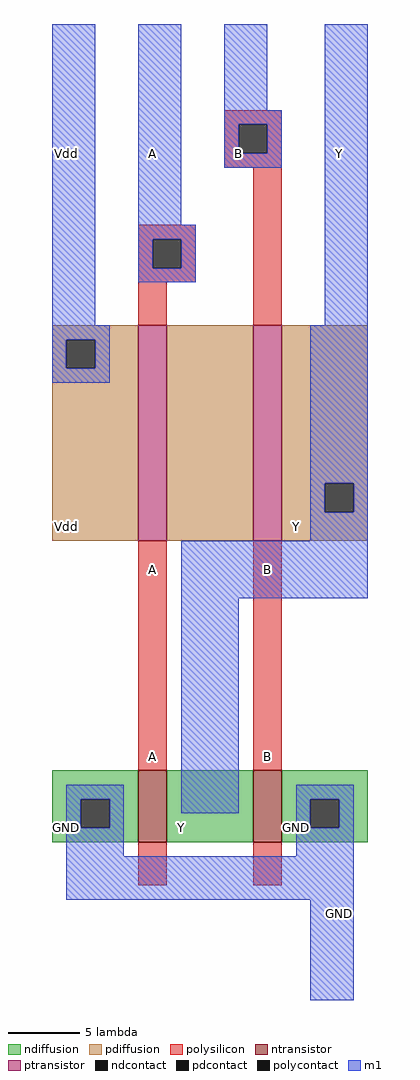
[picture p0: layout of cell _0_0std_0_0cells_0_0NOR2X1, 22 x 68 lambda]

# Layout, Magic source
magic
tech TSMC180
<< ndiffusion >>
rect 6 10 12 12
rect 6 8 8 10
rect 10 8 12 10
rect 6 7 12 8
rect 14 7 20 12
rect 22 10 28 12
rect 22 8 24 10
rect 26 8 28 10
rect 22 7 28 8
<< ndcontact >>
rect 8 8 10 10
rect 24 8 26 10
<< ntransistor >>
rect 12 7 14 12
rect 20 7 22 12
<< pdiffusion >>
rect 6 42 12 43
rect 6 40 7 42
rect 9 40 12 42
rect 6 28 12 40
rect 14 28 20 43
rect 22 32 28 43
rect 22 30 25 32
rect 27 30 28 32
rect 22 28 28 30
<< pdcontact >>
rect 7 40 9 42
rect 25 30 27 32
<< ptransistor >>
rect 12 28 14 43
rect 20 28 22 43
<< polysilicon >>
rect 18 57 22 58
rect 18 55 19 57
rect 21 55 22 57
rect 18 54 22 55
rect 12 49 16 50
rect 12 47 13 49
rect 15 47 16 49
rect 12 46 16 47
rect 12 43 14 46
rect 20 43 22 54
rect 12 12 14 28
rect 20 12 22 28
rect 12 4 14 7
rect 20 4 22 7
<< polycontact >>
rect 19 55 21 57
rect 13 47 15 49
<< m1 >>
rect 6 43 9 64
rect 12 50 15 64
rect 18 58 21 64
rect 18 57 22 58
rect 18 55 19 57
rect 21 55 22 57
rect 18 54 22 55
rect 12 49 16 50
rect 12 47 13 49
rect 15 47 16 49
rect 12 46 16 47
rect 25 43 28 64
rect 6 42 10 43
rect 6 40 7 42
rect 9 40 10 42
rect 6 39 10 40
rect 24 32 28 43
rect 24 30 25 32
rect 27 30 28 32
rect 24 28 28 30
rect 15 24 28 28
rect 7 10 11 11
rect 7 8 8 10
rect 10 8 11 10
rect 15 9 19 24
rect 23 10 27 11
rect 7 6 11 8
rect 23 8 24 10
rect 26 8 27 10
rect 23 6 27 8
rect 7 3 27 6
rect 24 -4 27 3
<< labels >>
rlabel pdiffusion 23 29 23 29 3 Y
rlabel polysilicon 21 13 21 13 3 B
rlabel polysilicon 21 26 21 26 3 B
rlabel ndiffusion 15 8 15 8 3 Y
rlabel polysilicon 13 13 13 13 3 A
rlabel polysilicon 13 26 13 26 3 A
rlabel pdiffusion 7 29 7 29 3 Vdd
rlabel m1 19 55 19 55 3 B
port 3 e
rlabel m1 13 55 13 55 3 A
port 5 e
rlabel m1 7 55 7 55 3 Vdd
port 2 e
rlabel m1 26 2 26 2 3 GND
port 1 e
rlabel m1 26 55 26 55 3 Y
port 4 e
rlabel ndiffusion 7 8 7 8 3 GND
rlabel ndiffusion 23 8 23 8 3 GND
<< end >>
